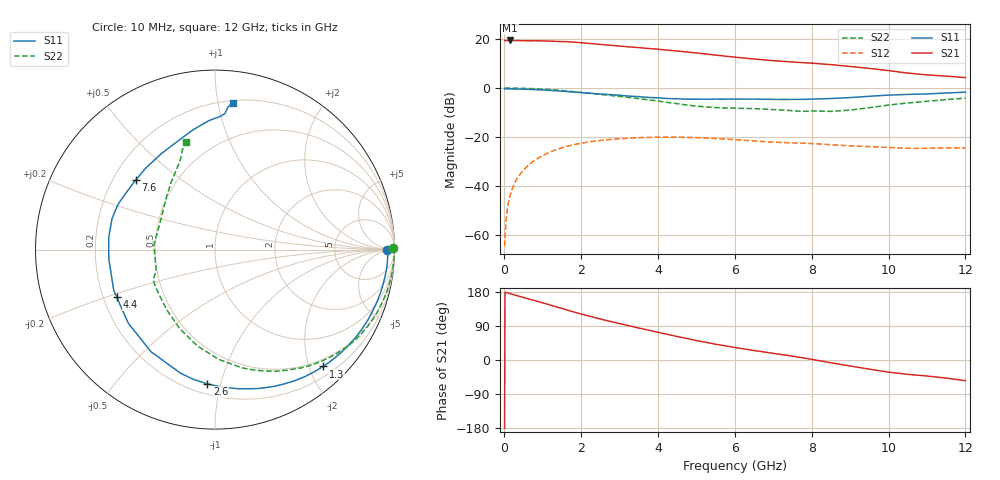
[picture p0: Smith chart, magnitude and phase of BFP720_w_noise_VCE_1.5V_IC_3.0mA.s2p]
! Infineon Technologies  Discrete & RF Semiconductors
! BFP720
! VCE =  1.5 V,  IC =  3.0 mA
! Common Emitter S-Parameters:  Aug 2012
# GHz  S  MA  R  50
!  f  S11  S21  S12  S22
! GHz  MAG  ANG  MAG  ANG  MAG  ANG  MAG  ANG
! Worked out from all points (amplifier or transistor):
!   105 points, 10 MHz to 12 GHz, reference 50 ohm
!   highest |S21| = 19.4 dB at 150 MHz (marker M1)
!   |S21| within 3 dB of that: start of sweep to 3.566 GHz
!   unconditionally stable (mu >= 1): 7.337 GHz to 11.9 GHz
!   at 300 MHz: K = 0.02, MSG = 28.6 dB, |S12| = -37.9 dB
!   at 3.6 GHz: K = 0.36, MSG = 18.3 dB, |S12| = -20.2 dB
!   at 12 GHz: K = 0.96, MSG = 14.3 dB, |S12| = -24.4 dB
!   lowest NFmin = 0.36 dB at 450 MHz
!   S11 on the Smith chart (normalised r, x): 10 MHz: 49, +0; 1.3 GHz: 0.37, -2.24; 2.6 GHz: 0.27, -0.91; 4.4 GHz: 0.26, -0.21; 7.6 GHz: 0.29, +0.35; 12 GHz: 0.22, +1.11
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0.01  0.9602 0.0  9.334 -179.7  0.0006 -30.0  0.991 0.5
0.02  0.9647 -0.6  9.201 179.0  0.0009 93.4  0.9992 -0.5
0.07  0.9629 -2.4  9.321 177.6  0.0029 89.6  0.9982 -1.9
0.15  0.9629 -5.2  9.34 175.3  0.0063 87.0  0.998 -4.0
0.35  0.9554 -12.2  9.273 169.4  0.015 82.0  0.9926 -9.4
0.8  0.9306 -28.4  9.22 156.6  0.034 71.1  0.968 -21.6
1.3  0.8875 -47.2  8.986 141.9  0.0537 58.5  0.9173 -35.6
1.7  0.8421 -62.6  8.739 130.0  0.067 48.4  0.8592 -46.4
2.1  0.7964 -76.7  8.261 118.8  0.0774 38.9  0.7986 -56.4
2.6  0.7495 -93.2  7.65 105.7  0.0873 28.2  0.7286 -68.1
3  0.7144 -105.7  7.187 96.1  0.0929 20.6  0.6772 -76.9
3.5  0.6712 -122.2  6.69 84.3  0.0975 11.6  0.6111 -88.2
4.1  0.6237 -143.1  6.083 70.9  0.0998 1.8  0.5308 -102.8
4.4  0.6083 -154.2  5.788 64.2  0.1 -2.9  0.4923 -111.0
5  0.5939 -175.0  5.2 51.1  0.0979 -11.8  0.4301 -128.6
5.5  0.5958 173.5  4.704 41.6  0.0939 -18.1  0.4001 -141.0
6.1  0.5975 161.8  4.195 31.5  0.0877 -23.8  0.3876 -150.5
7.6  0.5874 138.5  3.36 8.5  0.076 -31.3  0.341 -165.7
8.5  0.6124 119.2  3.001 -7.3  0.0701 -35.8  0.3354 160.6
9.5  0.68 100.1  2.518 -24.1  0.0641 -36.9  0.398 132.9
10.5  0.7424 87.8  2.021 -37.9  0.0592 -36.2  0.4978 115.3
12  0.8256 83.0  1.638 -54.6  0.0606 -35.2  0.6237 105.2
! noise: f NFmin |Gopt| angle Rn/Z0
0.45  0.36  0.64  5  0.2
1.8  0.5  0.57  28  0.16
2.4  0.56  0.45  71  0.19
5.5  0.77  0.32  80  0.12
10  1.12  0.43  -102  0.21
